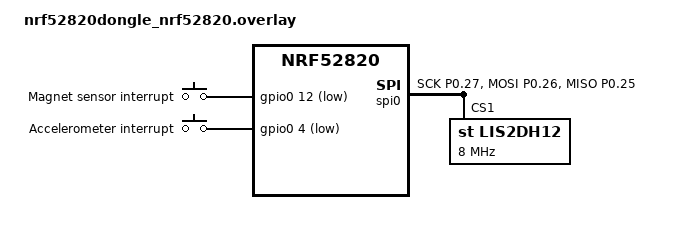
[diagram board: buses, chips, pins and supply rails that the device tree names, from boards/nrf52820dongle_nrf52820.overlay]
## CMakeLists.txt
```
#-------------------------------------------------------------------------------
# JUXTA BLE Suite Application
#
# Copyright (c) 2024 NeurotechHub
# SPDX-License-Identifier: Apache-2.0

cmake_minimum_required(VERSION 3.20.0)

find_package(Zephyr REQUIRED HINTS $ENV{ZEPHYR_BASE})
project(juxta_ble_suite LANGUAGES C)

# Add library include paths
target_include_directories(app PRIVATE 
    ${CMAKE_CURRENT_SOURCE_DIR}/../../lib/lisd2h12
)

target_sources(app PRIVATE
    src/main.c
    src/ble_integration.c
    src/accelerometer.c
    src/magnet_sensor.c
    ${CMAKE_CURRENT_SOURCE_DIR}/../../lib/lisd2h12/lis2dh12_reg.c
) 
```

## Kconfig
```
# Copyright (c) 2024 NeurotechHub
# SPDX-License-Identifier: Apache-2.0
#
# This file is the application Kconfig entry point. All application Kconfig
# options can be defined here or included via other application Kconfig files.
# You can browse these options using the west targets menuconfig (terminal) or
# guiconfig (GUI).

menu "Zephyr"
source "Kconfig.zephyr"
endmenu

# JUXTA FRAM Library Configuration
config JUXTA_FRAM
	bool "JUXTA FRAM Library"
	depends on SPI && GPIO
	help
	  Enable the JUXTA FRAM library for communicating with
	  MB85RS1MT FRAM memory devices over SPI.
	  
	  This library provides a clean API for:
	  - Device initialization and ID verification
	  - Reading and writing data
	  - Error handling and logging
	  
	  Requires SPI and GPIO drivers to be enabled.

if JUXTA_FRAM

module = JUXTA_FRAM
module-str = juxta_fram
source "subsys/logging/Kconfig.template.log_config"

config JUXTA_FRAM_INIT_PRIORITY
	int "JUXTA FRAM library initialization priority"
	default 70
	help
	  Initialization priority for the JUXTA FRAM library.
	  Must be higher than SPI and GPIO driver priorities.

endif # JUXTA_FRAM

# JUXTA FRAM File System Library Configuration
config JUXTA_FRAMFS
	bool "JUXTA FRAM File System Library"
	depends on JUXTA_FRAM
	help
	  Enable the JUXTA FRAM file system library. This provides a simple
	  append-only file system on top of the JUXTA FRAM driver.

if JUXTA_FRAMFS

module = JUXTA_FRAMFS
module-str = juxta_framfs
source "subsys/logging/Kconfig.template.log_config"

config JUXTA_FRAMFS_MAX_FILES
	int "Maximum number of files"
	default 64
	range 1 256
	help
	  Maximum number of files that can be stored in the file system.
	  Each file entry uses 32 bytes of FRAM for metadata.

endif # JUXTA_FRAMFS 
```

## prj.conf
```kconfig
# JUXTA BLE Suite Application Configuration
# Optimized for nRF52820 memory constraints (32KB RAM)

# Enable Bluetooth Low Energy (minimal configuration)
CONFIG_BT=y
CONFIG_BT_PERIPHERAL=y
CONFIG_BT_CENTRAL=y
CONFIG_BT_DEVICE_NAME="JUXTA-SUITE"

# BLE scanning configuration (minimal)
CONFIG_BT_SCAN_AND_INITIATE_IN_PARALLEL=y
CONFIG_BT_CTLR_SDC_ALLOW_PARALLEL_SCANNING_AND_INITIATING=y

# BLE memory optimization
CONFIG_BT_GATT_DYNAMIC_DB=n
CONFIG_BT_GATT_SERVICE_CHANGED=n
CONFIG_BT_ATT_PREPARE_COUNT=0
CONFIG_BT_BUF_ACL_RX_SIZE=27
CONFIG_BT_BUF_ACL_TX_SIZE=27
CONFIG_BT_L2CAP_TX_MTU=23
CONFIG_BT_MAX_CONN=1
CONFIG_BT_DEVICE_APPEARANCE=0
CONFIG_BT_DEVICE_NAME_DYNAMIC=n
CONFIG_BT_BUF_EVT_RX_COUNT=2
CONFIG_BT_BUF_EVT_DISCARDABLE_COUNT=1
CONFIG_BT_BUF_CMD_TX_COUNT=2

# Enable GPIO for LED control and magnet sensor
CONFIG_GPIO=y

# Enable SPI for accelerometer
CONFIG_SPI=y
CONFIG_SPI_NRFX=y

# Minimal logging to save memory
CONFIG_LOG=y
CONFIG_LOG_DEFAULT_LEVEL=1
CONFIG_LOG_BUFFER_SIZE=256

# Disable RTT to save memory
CONFIG_USE_SEGGER_RTT=n
CONFIG_CONSOLE=n
CONFIG_UART_CONSOLE=n

# Reduced stack sizes (within valid ranges)
CONFIG_SYSTEM_WORKQUEUE_STACK_SIZE=1024
CONFIG_MAIN_STACK_SIZE=1024
CONFIG_BT_RX_STACK_SIZE=1024
CONFIG_BT_HCI_TX_STACK_SIZE=1024
CONFIG_HEAP_MEM_POOL_SIZE=2048

# Enable necessary subsystems
CONFIG_ENTROPY_GENERATOR=y
CONFIG_FLASH=y
CONFIG_FLASH_MAP=y

# Disable ADC (not needed)
CONFIG_ADC=n
CONFIG_ADC_NRFX_SAADC=n

# Memory optimization
CONFIG_NO_OPTIMIZATIONS=n
CONFIG_SIZE_OPTIMIZATIONS=y 
```

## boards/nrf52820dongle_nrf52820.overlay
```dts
/*
 * Board overlay for nRF52820 dongle
 * Defines device tree aliases for JUXTA BLE Suite
 */

/ {
    aliases {
        led0 = &led0_green;
        magnet-sensor = &magnet_sensor;
        accel-int = &accel_int;
        spi-accel = &accel0;
    };

    gpio_keys {
        compatible = "gpio-keys";
        magnet_sensor: magnet_sensor {
            gpios = <&gpio0 12 GPIO_ACTIVE_LOW>;
            label = "Magnet sensor interrupt";
        };
        accel_int: accel_int {
            gpios = <&gpio0 4 GPIO_ACTIVE_LOW>;
            label = "Accelerometer interrupt";
        };
    };
};

&gpio0 {
    status = "okay";
};

&gpiote {
    status = "okay";
};

&spi0 {
    compatible = "nordic,nrf-spim";
    status = "okay";
    
    pinctrl-0 = <&spi0_default>;
    pinctrl-1 = <&spi0_sleep>;
    pinctrl-names = "default", "sleep";
    
    cs-gpios = <&gpio0 5 GPIO_ACTIVE_LOW>;   /* Accelerometer CS */
    
    accel0: accel@1 {
        compatible = "st,lis2dh12", "st,lis2dh";
        reg = <1>;
        spi-max-frequency = <8000000>;
        label = "LIS2DH12";
    };
};

&pinctrl {
    spi0_default: spi0_default {
        group1 {
            psels = <NRF_PSEL(SPIM_SCK, 0, 27)>,
                    <NRF_PSEL(SPIM_MOSI, 0, 26)>,
                    <NRF_PSEL(SPIM_MISO, 0, 25)>;
        };
    };

    spi0_sleep: spi0_sleep {
        group1 {
            psels = <NRF_PSEL(SPIM_SCK, 0, 27)>,
                    <NRF_PSEL(SPIM_MOSI, 0, 26)>,
                    <NRF_PSEL(SPIM_MISO, 0, 25)>;
            low-power-enable;
        };
    };
}; 
```

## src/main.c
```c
/*
 * JUXTA BLE Suite Application
 * Combines BLE, accelerometer, and magnet sensor functionality
 *
 * Copyright (c) 2024 NeurotechHub
 * SPDX-License-Identifier: Apache-2.0
 */

#include <zephyr/kernel.h>
#include <zephyr/logging/log.h>
#include <zephyr/device.h>
#include <zephyr/drivers/gpio.h>

#include "ble_integration.h"
#include "accelerometer.h"
#include "magnet_sensor.h"

LOG_MODULE_REGISTER(main, LOG_LEVEL_INF);

/* Forward declarations */
static void main_work_handler(struct k_work *work);
int init_bluetooth(void);
void ble_integration_process_events(void);

/* Main application state */
static struct
{
    bool ble_initialized;
    bool accelerometer_initialized;
    bool magnet_initialized;
} app_state = {false, false, false};

/* Main application work handler */
static void main_work_handler(struct k_work *work)
{
    (void)work;

    /* Periodic logging of system status */
    LOG_INF("System Status - BLE: %s, Accel: %s, Magnet: %s",
            app_state.ble_initialized ? "OK" : "FAIL",
            app_state.accelerometer_initialized ? "OK" : "FAIL",
            app_state.magnet_initialized ? "OK" : "FAIL");
}

/* Main application work queue */
K_WORK_DELAYABLE_DEFINE(main_work, main_work_handler);

int main(void)
{
    int ret;
    LOG_INF("🚀 JUXTA BLE Suite starting...");

    /* Initialize magnet sensor first (GPIO interrupt) */
    ret = magnet_sensor_init();
    if (ret == 0)
    {
        app_state.magnet_initialized = true;
        LOG_INF("✅ Magnet sensor initialized");
    }
    else
    {
        LOG_ERR("❌ Magnet sensor initialization failed: %d", ret);
    }

    /* Initialize accelerometer */
    ret = accelerometer_init();
    if (ret == 0)
    {
        app_state.accelerometer_initialized = true;
        LOG_INF("✅ Accelerometer initialized");
    }
    else
    {
        LOG_ERR("❌ Accelerometer initialization failed: %d", ret);
    }

    /* Initialize Bluetooth */
    ret = init_bluetooth();
    if (ret == 0)
    {
        app_state.ble_initialized = true;
        LOG_INF("✅ Bluetooth initialized");
    }
    else
    {
        LOG_ERR("❌ Bluetooth initialization failed: %d", ret);
    }

    LOG_INF("🎉 JUXTA BLE Suite initialization complete!");

    /* Start periodic status logging */
    k_work_schedule(&main_work, K_SECONDS(30));

    /* Main loop */
    while (1)
    {
        /* Read accelerometer data periodically */
        if (app_state.accelerometer_initialized)
        {
            struct accelerometer_data accel_data;
            ret = accelerometer_read_data(&accel_data);
            if (ret == 0)
            {
                LOG_DBG("Accelerometer: X=%d, Y=%d, Z=%d",
                        accel_data.x, accel_data.y, accel_data.z);

                /* Send data via BLE if connected */
                if (app_state.ble_initialized)
                {
                    ble_integration_send_accelerometer_data(&accel_data);
                }
            }
        }

        /* Process BLE events */
        if (app_state.ble_initialized)
        {
            ble_integration_process_events();
        }

        k_sleep(K_MSEC(1000)); /* 1 second loop */
    }
}
```

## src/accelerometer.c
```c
/*
 * Accelerometer Integration Implementation
 * Uses LIS2DH12 library from juxta-axy
 *
 * Copyright (c) 2024 NeurotechHub
 * SPDX-License-Identifier: Apache-2.0
 */

#include <zephyr/kernel.h>
#include <zephyr/device.h>
#include <zephyr/drivers/spi.h>
#include <zephyr/drivers/gpio.h>
#include <zephyr/logging/log.h>
#include <string.h>

#include "accelerometer.h"

LOG_MODULE_REGISTER(accelerometer, LOG_LEVEL_INF);

/* Device tree definitions */
#define ACCEL_NODE DT_ALIAS(spi_accel)
#define ACCEL_INT_NODE DT_ALIAS(accel_int)

/* GPIO specifications */
static const struct gpio_dt_spec accel_int = GPIO_DT_SPEC_GET(ACCEL_INT_NODE, gpios);

/* LIS2DH12 device context structure */
struct lis2dh12_zephyr_dev
{
    const struct device *spi_dev;
    struct spi_config spi_cfg;
    struct gpio_dt_spec int_gpio;
    bool initialized;
};

/* LIS2DH12 WHO_AM_I value */
#define LIS2DH12_WHO_AM_I_VAL 0x33

/* Accelerometer device context */
static struct lis2dh12_zephyr_dev accel_dev;

/* STMicroelectronics library context structure */
typedef struct
{
    int32_t (*write_reg)(void *handle, uint8_t reg, const uint8_t *data, uint16_t len);
    int32_t (*read_reg)(void *handle, uint8_t reg, uint8_t *data, uint16_t len);
    void *handle;
} stmdev_ctx_t;

/* LIS2DH12 acceleration data structure */
typedef struct
{
    int16_t i16bit[3];
} axis3bit16_t;

/* Forward declarations for STMicroelectronics library functions */
extern int32_t lis2dh12_device_id_get(stmdev_ctx_t *ctx, uint8_t *val);
extern int32_t lis2dh12_acceleration_raw_get(stmdev_ctx_t *ctx, axis3bit16_t *val);

/**
 * @brief Platform-specific SPI read function for STMicroelectronics library
 */
int32_t lis2dh12_platform_read(void *handle, uint8_t reg, uint8_t *data, uint16_t len)
{
    /* For SPI, set read bit (bit 7) and increment bit (bit 6) for multi-byte reads */
    uint8_t tx_reg = reg | 0x80; /* Set read bit */
    if (len > 1)
    {
        tx_reg |= 0x40; /* Set increment bit for multi-byte reads */
    }

    uint8_t tx_buf[1 + len]; /* Register + dummy bytes */
    uint8_t rx_buf[1 + len]; /* Response */

    tx_buf[0] = tx_reg;
    memset(&tx_buf[1], 0x00, len); /* Dummy bytes */

    const struct spi_buf tx_bufs = {
        .buf = tx_buf,
        .len = sizeof(tx_buf)};
    const struct spi_buf rx_bufs = {
        .buf = rx_buf,
        .len = sizeof(rx_buf)};
    const struct spi_buf_set tx = {
        .buffers = &tx_bufs,
        .count = 1};
    const struct spi_buf_set rx = {
        .buffers = &rx_bufs,
        .count = 1};

    int ret = spi_transceive(accel_dev.spi_dev, &accel_dev.spi_cfg, &tx, &rx);
    if (ret < 0)
    {
        LOG_ERR("SPI read failed: %d", ret);
        return ret;
    }

    /* Copy received data (skip first byte which is the register echo) */
    memcpy(data, &rx_buf[1], len);

    return 0;
}

/**
 * @brief Platform-specific SPI write function for STMicroelectronics library
 */
int32_t lis2dh12_platform_write(void *handle, uint8_t reg, const uint8_t *data, uint16_t len)
{
    /* For SPI, clear read bit (bit 7) and set increment bit (bit 6) for multi-byte writes */
    uint8_t tx_reg = reg & 0x7F; /* Clear read bit */
    if (len > 1)
    {
        tx_reg |= 0x40; /* Set increment bit for multi-byte writes */
    }

    uint8_t tx_buf[1 + len]; /* Register + data */
    tx_buf[0] = tx_reg;
    memcpy(&tx_buf[1], data, len);

    const struct spi_buf tx_bufs = {
        .buf = tx_buf,
        .len = sizeof(tx_buf)};
    const struct spi_buf_set tx = {
        .buffers = &tx_bufs,
        .count = 1};

    int ret = spi_write(accel_dev.spi_dev, &accel_dev.spi_cfg, &tx);
    if (ret < 0)
    {
        LOG_ERR("SPI write failed: %d", ret);
        return ret;
    }

    return 0;
}

/**
 * @brief Initialize accelerometer device
 */
static int init_accelerometer_device(void)
{
    /* Get SPI device */
    const struct device *spi_dev = DEVICE_DT_GET(DT_BUS(ACCEL_NODE));
    if (!device_is_ready(spi_dev))
    {
        LOG_ERR("SPI device not ready");
        return -ENODEV;
    }

    if (!gpio_is_ready_dt(&accel_int))
    {
        LOG_ERR("Accelerometer interrupt GPIO not ready");
        return -ENODEV;
    }

    /* Configure SPI for LIS2DH12 */
    accel_dev.spi_dev = spi_dev;
    accel_dev.spi_cfg.frequency = 8000000; /* 8MHz max for LIS2DH12 */
    accel_dev.spi_cfg.operation = SPI_WORD_SET(8) | SPI_TRANSFER_MSB | SPI_MODE_CPOL | SPI_MODE_CPHA;
    accel_dev.spi_cfg.slave = 1; /* Use slave 1 (accel@1 in device tree) */
    accel_dev.spi_cfg.cs.delay = 0;

    /* Store interrupt GPIO spec */
    accel_dev.int_gpio = accel_int;
    accel_dev.initialized = true;

    LOG_INF("LIS2DH12 initialized: freq=%d Hz, slave=%d, INT=P0.%02d",
            accel_dev.spi_cfg.frequency, accel_dev.spi_cfg.slave, accel_int.pin);

    return 0;
}

/**
 * @brief Verify accelerometer device ID
 */
static int verify_accelerometer_id(void)
{
    /* Create STMicroelectronics library context */
    stmdev_ctx_t ctx = {
        .write_reg = lis2dh12_platform_write,
        .read_reg = lis2dh12_platform_read,
        .handle = &accel_dev};

    uint8_t who_am_i = 0;

    /* Use STMicroelectronics library function */
    int32_t ret = lis2dh12_device_id_get(&ctx, &who_am_i);
    if (ret != 0)
    {
        LOG_ERR("Failed to read WHO_AM_I register: %d", ret);
        return -EIO;
    }

    if (who_am_i != LIS2DH12_WHO_AM_I_VAL)
    {
        LOG_ERR("Invalid WHO_AM_I: 0x%02X (expected 0x%02X)",
                who_am_i, LIS2DH12_WHO_AM_I_VAL);
        return -ENODEV;
    }

    LOG_INF("✅ LIS2DH12 WHO_AM_I verified: 0x%02X", who_am_i);
    return 0;
}

int accelerometer_init(void)
{
    int ret;

    /* Initialize accelerometer device */
    ret = init_accelerometer_device();
    if (ret < 0)
    {
        return ret;
    }

    /* Verify device ID */
    ret = verify_accelerometer_id();
    if (ret < 0)
    {
        return ret;
    }

    LOG_INF("✅ Accelerometer initialized successfully");
    return 0;
}

int accelerometer_read_data(struct accelerometer_data *data)
{
    if (!data)
    {
        return -EINVAL;
    }

    /* Create STMicroelectronics library context */
    stmdev_ctx_t ctx = {
        .write_reg = lis2dh12_platform_write,
        .read_reg = lis2dh12_platform_read,
        .handle = &accel_dev};

    /* Read acceleration data */
    axis3bit16_t accel_raw;
    int32_t ret = lis2dh12_acceleration_raw_get(&ctx, &accel_raw);
    if (ret != 0)
    {
        LOG_ERR("Failed to read acceleration data: %d", ret);
        return -EIO;
    }

    /* Convert to 16-bit values */
    data->x = (int16_t)accel_raw.i16bit[0];
    data->y = (int16_t)accel_raw.i16bit[1];
    data->z = (int16_t)accel_raw.i16bit[2];
    data->timestamp = k_uptime_get_32();

    LOG_DBG("Accelerometer data: X=%d, Y=%d, Z=%d", data->x, data->y, data->z);
    return 0;
}

int accelerometer_get_device_id(uint8_t *device_id)
{
    if (!device_id)
    {
        return -EINVAL;
    }

    /* Create STMicroelectronics library context */
    stmdev_ctx_t ctx = {
        .write_reg = lis2dh12_platform_write,
        .read_reg = lis2dh12_platform_read,
        .handle = &accel_dev};

    /* Use STMicroelectronics library function */
    int32_t ret = lis2dh12_device_id_get(&ctx, device_id);
    if (ret != 0)
    {
        LOG_ERR("Failed to read device ID: %d", ret);
        return -EIO;
    }

    return 0;
}
```

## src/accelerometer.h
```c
/*
 * Accelerometer Integration Header
 * Defines LIS2DH12 accelerometer integration for JUXTA BLE Suite
 *
 * Copyright (c) 2024 NeurotechHub
 * SPDX-License-Identifier: Apache-2.0
 */

#ifndef ACCELEROMETER_H_
#define ACCELEROMETER_H_

#include <zephyr/kernel.h>

#ifdef __cplusplus
extern "C"
{
#endif

    /**
     * @brief Accelerometer data structure
     */
    struct accelerometer_data
    {
        int16_t x;
        int16_t y;
        int16_t z;
        uint32_t timestamp;
    };

    /**
     * @brief Initialize accelerometer
     *
     * @return 0 on success, negative error code on failure
     */
    int accelerometer_init(void);

    /**
     * @brief Read accelerometer data
     *
     * @param data Pointer to store accelerometer data
     * @return 0 on success, negative error code on failure
     */
    int accelerometer_read_data(struct accelerometer_data *data);

    /**
     * @brief Get accelerometer device ID
     *
     * @param device_id Pointer to store device ID
     * @return 0 on success, negative error code on failure
     */
    int accelerometer_get_device_id(uint8_t *device_id);

#ifdef __cplusplus
}
#endif

#endif /* ACCELEROMETER_H_ */
```

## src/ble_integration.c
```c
/*
 * BLE Integration Implementation
 * Handles advertising, scanning, and GATT services
 *
 * Copyright (c) 2024 NeurotechHub
 * SPDX-License-Identifier: Apache-2.0
 */

#include <zephyr/kernel.h>
#include <zephyr/bluetooth/bluetooth.h>
#include <zephyr/bluetooth/gatt.h>
#include <zephyr/bluetooth/hci.h>
#include <zephyr/bluetooth/conn.h>
#include <zephyr/bluetooth/uuid.h>
#include <zephyr/logging/log.h>
#include <string.h>

#include "ble_integration.h"
#include "accelerometer.h"

LOG_MODULE_REGISTER(ble_integration, LOG_LEVEL_INF);

/* BLE connection state */
static struct bt_conn *current_conn;
static bool ble_connected = false;

/* Characteristic values */
static uint8_t led_char_value = JUXTA_LED_OFF;
static uint8_t accel_data[10] = {0};       /* 10 bytes for accelerometer data */
static uint8_t magnet_event_data[4] = {0}; /* 4 bytes for event count */

/**
 * @brief LED characteristic read callback
 */
static ssize_t read_led_char(struct bt_conn *conn, const struct bt_gatt_attr *attr,
                             void *buf, uint16_t len, uint16_t offset)
{
    return bt_gatt_attr_read(conn, attr, buf, len, offset, &led_char_value,
                             sizeof(led_char_value));
}

/**
 * @brief LED characteristic write callback
 */
static ssize_t write_led_char(struct bt_conn *conn, const struct bt_gatt_attr *attr,
                              const void *buf, uint16_t len, uint16_t offset,
                              uint8_t flags)
{
    uint8_t *value = attr->user_data;

    if (offset + len > sizeof(led_char_value))
    {
        return BT_GATT_ERR(BT_ATT_ERR_INVALID_OFFSET);
    }

    memcpy(value + offset, buf, len);

    /* Validate the written value */
    if (led_char_value != JUXTA_LED_OFF && led_char_value != JUXTA_LED_ON)
    {
        LOG_WRN("Invalid LED value written: 0x%02X", led_char_value);
        return BT_GATT_ERR(BT_ATT_ERR_OUT_OF_RANGE);
    }

    LOG_INF("LED set to %s via BLE", led_char_value ? "ON" : "OFF");
    return len;
}

/**
 * @brief Accelerometer characteristic read callback
 */
static ssize_t read_accel_char(struct bt_conn *conn, const struct bt_gatt_attr *attr,
                               void *buf, uint16_t len, uint16_t offset)
{
    return bt_gatt_attr_read(conn, attr, buf, len, offset, accel_data,
                             sizeof(accel_data));
}

/**
 * @brief Magnet sensor characteristic read callback
 */
static ssize_t read_magnet_char(struct bt_conn *conn, const struct bt_gatt_attr *attr,
                                void *buf, uint16_t len, uint16_t offset)
{
    return bt_gatt_attr_read(conn, attr, buf, len, offset, magnet_event_data,
                             sizeof(magnet_event_data));
}

/* JUXTA BLE Service Definition */
BT_GATT_SERVICE_DEFINE(juxta_ble_svc,
                       /* Service Declaration */
                       BT_GATT_PRIMARY_SERVICE(BT_UUID_JUXTA_SERVICE),

                       /* LED Control Characteristic */
                       BT_GATT_CHARACTERISTIC(BT_UUID_JUXTA_LED_CHAR,
                                              BT_GATT_CHRC_READ | BT_GATT_CHRC_WRITE,
                                              BT_GATT_PERM_READ | BT_GATT_PERM_WRITE,
                                              read_led_char, write_led_char, &led_char_value),

                       /* Accelerometer Data Characteristic */
                       BT_GATT_CHARACTERISTIC(BT_UUID_JUXTA_ACCEL_CHAR,
                                              BT_GATT_CHRC_READ | BT_GATT_CHRC_NOTIFY,
                                              BT_GATT_PERM_READ,
                                              read_accel_char, NULL, accel_data),

                       /* Magnet Sensor Event Characteristic */
                       BT_GATT_CHARACTERISTIC(BT_UUID_JUXTA_MAGNET_CHAR,
                                              BT_GATT_CHRC_READ | BT_GATT_CHRC_NOTIFY,
                                              BT_GATT_PERM_READ,
                                              read_magnet_char, NULL, magnet_event_data), );

/* Advertising data */
static const struct bt_data ad[] = {
    BT_DATA_BYTES(BT_DATA_FLAGS, BT_LE_AD_GENERAL | BT_LE_AD_NO_BREDR),
    BT_DATA_BYTES(BT_DATA_UUID128_ALL, JUXTA_SERVICE_UUID),
    BT_DATA(BT_DATA_NAME_COMPLETE, "JUXTA-SUITE", 11),
};

/* Scan response data */
static const struct bt_data sd[] = {
    BT_DATA(BT_DATA_NAME_COMPLETE, "JUXTA-SUITE", 11),
};

/* Connection callback */
static void connected(struct bt_conn *conn, uint8_t err)
{
    if (err)
    {
        LOG_ERR("Connection failed (err %u)", err);
        return;
    }

    current_conn = bt_conn_ref(conn);
    ble_connected = true;
    LOG_INF("Connected to device");
}

/* Disconnection callback */
static void disconnected(struct bt_conn *conn, uint8_t reason)
{
    LOG_INF("Disconnected (reason %u)", reason);

    if (current_conn)
    {
        bt_conn_unref(current_conn);
        current_conn = NULL;
    }
    ble_connected = false;
}

/* Connection callbacks */
static struct bt_conn_cb conn_callbacks = {
    .connected = connected,
    .disconnected = disconnected,
};

/* Scan callback */
static void scan_cb(const bt_addr_le_t *addr, int8_t rssi, uint8_t adv_type,
                    struct net_buf_simple *buf)
{
    char addr_str[BT_ADDR_LE_STR_LEN];
    bt_addr_le_to_str(addr, addr_str, sizeof(addr_str));

    LOG_DBG("Device found: %s (RSSI %d)", addr_str, rssi);

    /* Look for devices with our service UUID */
    while (buf->len > 1)
    {
        uint8_t len = net_buf_simple_pull_u8(buf);
        uint8_t type = buf->len ? net_buf_simple_pull_u8(buf) : 0;

        if (type == BT_DATA_UUID128_ALL)
        {
            uint8_t uuid_len = len - 1;
            if (uuid_len >= 16)
            {
                /* Check if this is our service UUID */
                uint8_t uuid[16];
                memcpy(uuid, buf->data, 16);
                if (memcmp(uuid, (uint8_t[]){JUXTA_SERVICE_UUID}, 16) == 0)
                {
                    LOG_INF("Found JUXTA device: %s", addr_str);
                    /* Could initiate connection here */
                }
            }
        }
        else
        {
            net_buf_simple_pull(buf, len - 1);
        }
    }
}

int init_bluetooth(void)
{
    int ret;

    /* Initialize Bluetooth stack */
    ret = bt_enable(NULL);
    if (ret)
    {
        LOG_ERR("Bluetooth init failed: %d", ret);
        return ret;
    }

    /* Register connection callbacks */
    bt_conn_cb_register(&conn_callbacks);

    /* Start scanning */
    ret = bt_le_scan_start(BT_LE_SCAN_PASSIVE, scan_cb);
    if (ret)
    {
        LOG_ERR("Scan start failed: %d", ret);
        return ret;
    }

    /* Start advertising with modern API */
    struct bt_le_adv_param adv_param = {
        .id = BT_ID_DEFAULT,
        .sid = 0,
        .secondary_max_skip = 0,
        .options = BT_LE_ADV_OPT_USE_NAME,
        .interval_min = BT_GAP_ADV_FAST_INT_MIN_2,
        .interval_max = BT_GAP_ADV_FAST_INT_MAX_2,
        .peer = NULL,
    };

    ret = bt_le_adv_start(&adv_param, ad, ARRAY_SIZE(ad), sd, ARRAY_SIZE(sd));
    if (ret)
    {
        LOG_ERR("Advertising start failed: %d", ret);
        return ret;
    }

    LOG_INF("Bluetooth initialized successfully");
    return 0;
}

void ble_integration_process_events(void)
{
    /* Process any pending BLE events */
    /* This is called from the main loop */
}

bool ble_integration_is_connected(void)
{
    return ble_connected;
}

int ble_integration_send_accelerometer_data(const struct accelerometer_data *data)
{
    if (!ble_connected || !current_conn)
    {
        return -ENOTCONN;
    }

    /* Pack accelerometer data */
    accel_data[0] = (data->x >> 8) & 0xFF;
    accel_data[1] = data->x & 0xFF;
    accel_data[2] = (data->y >> 8) & 0xFF;
    accel_data[3] = data->y & 0xFF;
    accel_data[4] = (data->z >> 8) & 0xFF;
    accel_data[5] = data->z & 0xFF;
    accel_data[6] = (data->timestamp >> 24) & 0xFF;
    accel_data[7] = (data->timestamp >> 16) & 0xFF;
    accel_data[8] = (data->timestamp >> 8) & 0xFF;
    accel_data[9] = data->timestamp & 0xFF;

    /* Send via notification */
    return bt_gatt_notify(current_conn, &juxta_ble_svc.attrs[4], accel_data, sizeof(accel_data));
}

int ble_integration_send_magnet_event(uint32_t event_count)
{
    if (!ble_connected || !current_conn)
    {
        return -ENOTCONN;
    }

    /* Pack magnet event count */
    magnet_event_data[0] = (event_count >> 24) & 0xFF;
    magnet_event_data[1] = (event_count >> 16) & 0xFF;
    magnet_event_data[2] = (event_count >> 8) & 0xFF;
    magnet_event_data[3] = event_count & 0xFF;

    /* Send via notification */
    return bt_gatt_notify(current_conn, &juxta_ble_svc.attrs[6], magnet_event_data, sizeof(magnet_event_data));
}
```

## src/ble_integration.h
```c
/*
 * BLE Integration Header
 * Handles advertising, scanning, and GATT services
 *
 * Copyright (c) 2024 NeurotechHub
 * SPDX-License-Identifier: Apache-2.0
 */

#ifndef BLE_INTEGRATION_H_
#define BLE_INTEGRATION_H_

#include <zephyr/kernel.h>
#include <stdint.h>
#include <stdbool.h>

/* Forward declaration for accelerometer data */
struct accelerometer_data;

#ifdef __cplusplus
extern "C"
{
#endif

/* Service UUID: 12340000-0000-1000-8000-00805F9B34FB */
#define JUXTA_SERVICE_UUID 0x00, 0x00, 0x34, 0x12, 0x00, 0x00, 0x00, 0x10, \
                           0x80, 0x00, 0x00, 0x80, 0x5F, 0x9B, 0x34, 0xFB

/* LED Control Characteristic UUID: 12350000-0000-1000-8000-00805F9B34FB */
#define JUXTA_LED_CHAR_UUID 0x00, 0x00, 0x35, 0x12, 0x00, 0x00, 0x00, 0x10, \
                            0x80, 0x00, 0x00, 0x80, 0x5F, 0x9B, 0x34, 0xFB

/* Accelerometer Characteristic UUID: 12360000-0000-1000-8000-00805F9B34FB */
#define JUXTA_ACCEL_CHAR_UUID 0x00, 0x00, 0x36, 0x12, 0x00, 0x00, 0x00, 0x10, \
                              0x80, 0x00, 0x00, 0x80, 0x5F, 0x9B, 0x34, 0xFB

/* Magnet Sensor Characteristic UUID: 12370000-0000-1000-8000-00805F9B34FB */
#define JUXTA_MAGNET_CHAR_UUID 0x00, 0x00, 0x37, 0x12, 0x00, 0x00, 0x00, 0x10, \
                               0x80, 0x00, 0x00, 0x80, 0x5F, 0x9B, 0x34, 0xFB

#define BT_UUID_JUXTA_SERVICE BT_UUID_DECLARE_128(JUXTA_SERVICE_UUID)
#define BT_UUID_JUXTA_LED_CHAR BT_UUID_DECLARE_128(JUXTA_LED_CHAR_UUID)
#define BT_UUID_JUXTA_ACCEL_CHAR BT_UUID_DECLARE_128(JUXTA_ACCEL_CHAR_UUID)
#define BT_UUID_JUXTA_MAGNET_CHAR BT_UUID_DECLARE_128(JUXTA_MAGNET_CHAR_UUID)

/**
 * @brief LED state values
 */
#define JUXTA_LED_OFF 0x00
#define JUXTA_LED_ON 0x01

    /**
     * @brief Initialize Bluetooth stack and start advertising
     * @return 0 on success, negative error code on failure
     */
    int init_bluetooth(void);

    /**
     * @brief Process BLE events (called from main loop)
     */
    void ble_integration_process_events(void);

    /**
     * @brief Check if BLE is connected
     * @return true if connected, false otherwise
     */
    bool ble_integration_is_connected(void);

    /**
     * @brief Send accelerometer data via BLE notification
     * @param data Pointer to accelerometer data
     * @return 0 on success, negative error code on failure
     */
    int ble_integration_send_accelerometer_data(const struct accelerometer_data *data);

    /**
     * @brief Send magnet sensor event via BLE notification
     * @param event_count Magnet event count
     * @return 0 on success, negative error code on failure
     */
    int ble_integration_send_magnet_event(uint32_t event_count);

#ifdef __cplusplus
}
#endif

#endif /* BLE_INTEGRATION_H_ */
```

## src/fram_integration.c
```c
/*
 * FRAM Integration Implementation
 * Combines FRAM library and file system functionality
 *
 * Copyright (c) 2024 NeurotechHub
 * SPDX-License-Identifier: Apache-2.0
 */

#include <zephyr/kernel.h>
#include <zephyr/device.h>
#include <zephyr/drivers/spi.h>
#include <zephyr/drivers/gpio.h>
#include <zephyr/logging/log.h>
#include <juxta_fram/fram.h>
#include <juxta_framfs/framfs.h>
#include <string.h>

#include "fram_integration.h"
#include "accelerometer.h"

LOG_MODULE_REGISTER(fram_integration, LOG_LEVEL_INF);

/* Device tree definitions */
#define LED_NODE DT_ALIAS(led0)

/* GPIO specifications */
static const struct gpio_dt_spec led = GPIO_DT_SPEC_GET(LED_NODE, gpios);

/* FRAM device and file system context */
static struct juxta_fram_device fram_dev;
static struct juxta_framfs_context fs_ctx;

/* Current active file for sensor data */
static char current_filename[17] = {0}; /* 16 chars + null terminator */

/**
 * @brief Initialize FRAM device
 */
static int init_fram_device(void)
{
    int ret;

    /* Get SPI device */
    const struct device *spi_dev = DEVICE_DT_GET(DT_BUS(DT_ALIAS(spi_fram)));
    if (!device_is_ready(spi_dev))
    {
        LOG_ERR("SPI device not ready");
        return -ENODEV;
    }

    /* Initialize FRAM */
    ret = juxta_fram_init(&fram_dev, spi_dev, 8000000, &led);
    if (ret < 0)
    {
        LOG_ERR("Failed to initialize FRAM: %d", ret);
        return ret;
    }

    /* Verify FRAM device ID */
    ret = juxta_fram_read_id(&fram_dev, NULL);
    if (ret < 0)
    {
        LOG_ERR("FRAM ID verification failed: %d", ret);
        return ret;
    }

    LOG_INF("✅ FRAM device initialized successfully");
    return 0;
}

/**
 * @brief Initialize file system
 */
static int init_file_system(void)
{
    int ret;

    /* Initialize file system */
    ret = juxta_framfs_init(&fs_ctx, &fram_dev);
    if (ret < 0)
    {
        LOG_ERR("Failed to initialize file system: %d", ret);
        return ret;
    }

    /* Create initial active file with current timestamp */
    uint32_t timestamp = k_uptime_get_32() / 1000; /* Convert to seconds */
    snprintf(current_filename, sizeof(current_filename), "%08X", timestamp);

    ret = juxta_framfs_create_active(&fs_ctx, current_filename, JUXTA_FRAMFS_TYPE_SENSOR_LOG);
    if (ret < 0)
    {
        LOG_ERR("Failed to create active file: %d", ret);
        return ret;
    }

    LOG_INF("✅ File system initialized with active file: %s", current_filename);
    return 0;
}

int fram_integration_init(void)
{
    int ret;

    /* Initialize FRAM device */
    ret = init_fram_device();
    if (ret < 0)
    {
        return ret;
    }

    /* Initialize file system */
    ret = init_file_system();
    if (ret < 0)
    {
        return ret;
    }

    LOG_INF("✅ FRAM integration initialized successfully");
    return 0;
}

int fram_store_sensor_data(const uint8_t *data, size_t length)
{
    int ret;

    if (!data || length == 0)
    {
        return -EINVAL;
    }

    /* Append data to active file */
    ret = juxta_framfs_append(&fs_ctx, data, length);
    if (ret < 0)
    {
        LOG_ERR("Failed to store sensor data: %d", ret);
        return ret;
    }

    LOG_DBG("Stored %zu bytes of sensor data", length);
    return 0;
}

int fram_integration_store_sensor_data(const struct accelerometer_data *data)
{
    if (!data)
    {
        return -EINVAL;
    }

    /* Store accelerometer data as raw bytes */
    /* struct accelerometer_data: int16_t x, y, z (6 bytes) + uint32_t timestamp (4 bytes) = 10 bytes */
    return fram_store_sensor_data((const uint8_t *)data, 10);
}

int fram_read_sensor_data(const char *filename, uint8_t *buffer, size_t max_length)
{
    int ret;

    if (!filename || !buffer || max_length == 0)
    {
        return -EINVAL;
    }

    /* Read data from file */
    ret = juxta_framfs_read(&fs_ctx, filename, 0, buffer, max_length);
    if (ret < 0)
    {
        LOG_ERR("Failed to read sensor data from %s: %d", filename, ret);
        return ret;
    }

    LOG_DBG("Read %d bytes from file %s", ret, filename);
    return ret;
}

int fram_get_stats(uint32_t *total_files, uint32_t *total_bytes)
{
    struct juxta_framfs_header stats;
    int ret;

    ret = juxta_framfs_get_stats(&fs_ctx, &stats);
    if (ret < 0)
    {
        LOG_ERR("Failed to get file system stats: %d", ret);
        return ret;
    }

    if (total_files)
    {
        *total_files = stats.file_count;
    }
    if (total_bytes)
    {
        *total_bytes = stats.total_data_size;
    }

    LOG_INF("📊 FRAM Stats: %u files, %u bytes used", stats.file_count, stats.total_data_size);
    return 0;
}
```

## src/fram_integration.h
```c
/*
 * FRAM Integration Header
 * Combines FRAM library and file system functionality
 *
 * Copyright (c) 2024 NeurotechHub
 * SPDX-License-Identifier: Apache-2.0
 */

#ifndef FRAM_INTEGRATION_H
#define FRAM_INTEGRATION_H

#include <stdint.h>
#include <stddef.h>
#include <stdbool.h>

/* Forward declaration */
struct accelerometer_data;

/**
 * @brief Initialize FRAM integration (device + file system)
 * @return 0 on success, negative error code on failure
 */
int fram_integration_init(void);

/**
 * @brief Store sensor data in FRAM file system
 * @param data Pointer to sensor data
 * @param length Size of data in bytes
 * @return 0 on success, negative error code on failure
 */
int fram_store_sensor_data(const uint8_t *data, size_t length);

/**
 * @brief Store accelerometer data in FRAM file system
 * @param data Pointer to accelerometer data structure
 * @return 0 on success, negative error code on failure
 */
int fram_integration_store_sensor_data(const struct accelerometer_data *data);

/**
 * @brief Read sensor data from FRAM file system
 * @param filename Name of file to read
 * @param buffer Buffer to store read data
 * @param max_length Maximum number of bytes to read
 * @return Number of bytes read on success, negative error code on failure
 */
int fram_read_sensor_data(const char *filename, uint8_t *buffer, size_t max_length);

/**
 * @brief Get FRAM file system statistics
 * @param total_files Pointer to store total file count
 * @param total_bytes Pointer to store total bytes used
 * @return 0 on success, negative error code on failure
 */
int fram_get_stats(uint32_t *total_files, uint32_t *total_bytes);

#endif /* FRAM_INTEGRATION_H */
```

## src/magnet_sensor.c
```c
/*
 * Magnet Sensor Integration Implementation
 * Handles GPIO interrupt functionality from juxta-mvp
 *
 * Copyright (c) 2024 NeurotechHub
 * SPDX-License-Identifier: Apache-2.0
 */

#include <zephyr/kernel.h>
#include <zephyr/device.h>
#include <zephyr/drivers/gpio.h>
#include <zephyr/logging/log.h>

#include "magnet_sensor.h"

LOG_MODULE_REGISTER(magnet_sensor, LOG_LEVEL_INF);

/* Device tree definitions */
#define MAGNET_SENSOR_NODE DT_ALIAS(magnet_sensor)

/* GPIO specifications */
static const struct gpio_dt_spec magnet_sensor = GPIO_DT_SPEC_GET(MAGNET_SENSOR_NODE, gpios);

/* Callback data */
static struct gpio_callback magnet_cb_data;

/* Semaphore for signaling magnet sensor interrupt */
static K_SEM_DEFINE(magnet_sem, 0, 1);

/* Counter for magnet sensor events */
static uint32_t magnet_event_count = 0;

/**
 * @brief Magnet sensor interrupt callback
 */
void magnet_sensor_callback(const struct device *dev, struct gpio_callback *cb, uint32_t pins)
{
    magnet_event_count++;

    LOG_INF("🧲 Magnet sensor interrupt triggered! (Event #%u)", magnet_event_count);

    /* Signal the main thread that an interrupt occurred */
    k_sem_give(&magnet_sem);
}

int magnet_sensor_init(void)
{
    int ret;

    if (!gpio_is_ready_dt(&magnet_sensor))
    {
        LOG_ERR("Magnet sensor GPIO not ready");
        return -ENODEV;
    }

    ret = gpio_pin_configure_dt(&magnet_sensor, GPIO_INPUT);
    if (ret < 0)
    {
        LOG_ERR("Failed to configure magnet sensor pin: %d", ret);
        return ret;
    }

    ret = gpio_pin_interrupt_configure_dt(&magnet_sensor, GPIO_INT_EDGE_TO_ACTIVE);
    if (ret < 0)
    {
        LOG_ERR("Failed to configure magnet sensor interrupt: %d", ret);
        return ret;
    }

    gpio_init_callback(&magnet_cb_data, magnet_sensor_callback, BIT(magnet_sensor.pin));
    gpio_add_callback(magnet_sensor.port, &magnet_cb_data);

    LOG_INF("✅ Magnet sensor initialized on pin %d (interrupt on rising edge)", magnet_sensor.pin);
    return 0;
}

uint32_t magnet_sensor_get_event_count(void)
{
    return magnet_event_count;
}
```

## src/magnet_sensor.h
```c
/*
 * Magnet Sensor Integration Header
 * Defines magnet sensor GPIO interrupt handling for JUXTA BLE Suite
 *
 * Copyright (c) 2024 NeurotechHub
 * SPDX-License-Identifier: Apache-2.0
 */

#ifndef MAGNET_SENSOR_H_
#define MAGNET_SENSOR_H_

#include <zephyr/kernel.h>

#ifdef __cplusplus
extern "C"
{
#endif

    /**
     * @brief Initialize magnet sensor
     *
     * @return 0 on success, negative error code on failure
     */
    int magnet_sensor_init(void);

    /**
     * @brief Get magnet sensor event count
     *
     * @return Current event count
     */
    uint32_t magnet_sensor_get_event_count(void);

#ifdef __cplusplus
}
#endif

#endif /* MAGNET_SENSOR_H_ */
```
